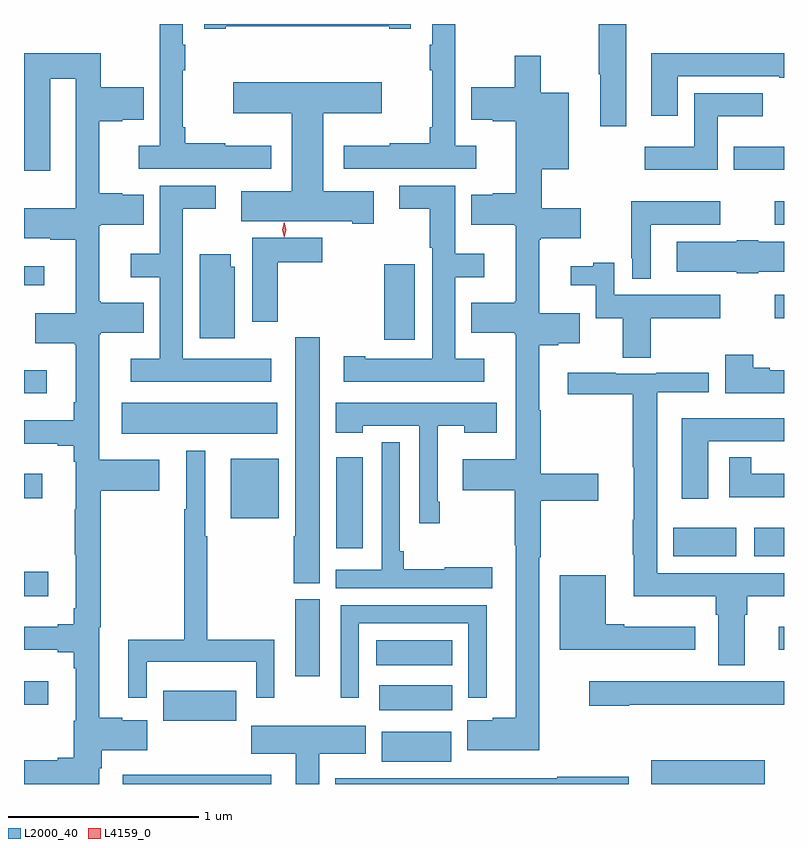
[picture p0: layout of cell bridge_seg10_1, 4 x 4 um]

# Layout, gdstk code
import gdstk
lib = gdstk.Library(unit=1e-6, precision=1e-09)
def R(c, l, rs):  # rectangles x0, y0, x1, y1
    for r in rs: c.add(gdstk.rectangle(r[:2], r[2:], *l))
def P(c, l, *ps):  # polygons
    for p in ps: c.add(gdstk.Polygon(p, *l))
L2000_40 = (2000, 40)
L4159_0 = (4159, 0)

bridge_seg10_1 = lib.new_cell('bridge_seg10_1')
R(bridge_seg10_1, L2000_40, [(1105.692,1323.919,1106.473,1323.967), (1108.473,1323.919,1109.071,1324.045), (1107.055,1324.037,1107.421,1324.195), (1105.906,1324.253,1106.288,1324.411), (1107.042,1324.307,1107.425,1324.438), (1105.172,1324.337,1105.3,1324.459), (1106.6,1324.485,1106.728,1324.891), (1107.027,1324.544,1107.425,1324.675), (1109.145,1324.625,1109.172,1324.747), (1105.172,1324.907,1105.3,1325.037), (1108.589,1325.117,1108.921,1325.269), (1109.016,1325.117,1109.172,1325.269), (1106.816,1325.16,1106.956,1325.638), (1106.261,1325.318,1106.512,1325.632), (1105.172,1325.422,1105.267,1325.551), (1105.686,1325.762,1106.506,1325.926), (1105.172,1325.975,1105.291,1326.097), (1107.068,1326.258,1107.229,1326.655), (1109.124,1326.371,1109.172,1326.493), (1105.172,1326.545,1105.279,1326.643), (1109.124,1326.863,1109.172,1326.985), (1108.907,1327.151,1109.172,1327.273)])
P(bridge_seg10_1, L2000_40, [(1106.233,1327.907),(1107.095,1327.907),(1107.095,1327.895),(1107.208,1327.895),(1107.208,1327.919),(1106.121,1327.919),(1106.121,1327.895),(1106.233,1327.895)],
  [(1108.342,1327.919),(1108.198,1327.919),(1108.198,1327.654),(1108.205,1327.654),(1108.205,1327.38),(1108.342,1327.38)],
  [(1107.553,1327.279),(1107.442,1327.279),(1107.442,1327.919),(1107.32,1327.919),(1107.32,1327.811),(1107.308,1327.811),(1107.308,1327.675),(1107.32,1327.675),(1107.32,1327.375),(1107.308,1327.375),(1107.308,1327.292),(1107.096,1327.292),(1107.096,1327.279),(1106.856,1327.279),(1106.856,1327.157),(1107.553,1327.157)],
  [(1106.473,1327.279),(1106.232,1327.279),(1106.232,1327.292),(1106.021,1327.292),(1106.021,1327.375),(1106.008,1327.375),(1106.008,1327.675),(1106.021,1327.675),(1106.021,1327.811),(1106.008,1327.811),(1106.008,1327.919),(1105.886,1327.919),(1105.886,1327.279),(1105.776,1327.279),(1105.776,1327.157),(1106.473,1327.157)],
  [(1105.567,1324.001),(1105.58,1324.001),(1105.58,1324.097),(1105.821,1324.097),(1105.821,1324.255),(1105.689,1324.255),(1105.689,1324.268),(1105.567,1324.268),(1105.567,1324.743),(1105.575,1324.743),(1105.575,1325.462),(1105.885,1325.462),(1105.885,1325.626),(1105.567,1325.626),(1105.567,1326.286),(1105.575,1326.286),(1105.575,1326.293),(1105.801,1326.293),(1105.801,1326.451),(1105.575,1326.451),(1105.575,1326.459),(1105.567,1326.459),(1105.567,1326.856),(1105.575,1326.856),(1105.575,1326.863),(1105.801,1326.863),(1105.801,1327.021),(1105.688,1327.021),(1105.688,1327.029),(1105.567,1327.029),(1105.567,1327.408),(1105.688,1327.408),(1105.688,1327.415),(1105.801,1327.415),(1105.801,1327.586),(1105.575,1327.586),(1105.575,1327.765),(1105.172,1327.765),(1105.172,1327.146),(1105.309,1327.146),(1105.309,1327.631),(1105.445,1327.631),(1105.445,1326.949),(1105.172,1326.949),(1105.172,1326.791),(1105.311,1326.791),(1105.311,1326.784),(1105.445,1326.784),(1105.445,1326.397),(1105.231,1326.397),(1105.231,1326.239),(1105.438,1326.239),(1105.438,1326.232),(1105.445,1326.232),(1105.445,1325.929),(1105.433,1325.929),(1105.433,1325.833),(1105.172,1325.833),(1105.172,1325.711),(1105.349,1325.711),(1105.349,1325.699),(1105.433,1325.699),(1105.433,1325.615),(1105.445,1325.615),(1105.445,1325.366),(1105.438,1325.366),(1105.438,1325.125),(1105.445,1325.125),(1105.445,1324.843),(1105.433,1324.843),(1105.433,1324.76),(1105.349,1324.76),(1105.349,1324.747),(1105.172,1324.747),(1105.172,1324.625),(1105.349,1324.625),(1105.349,1324.613),(1105.433,1324.613),(1105.433,1324.529),(1105.445,1324.529),(1105.445,1324.251),(1105.433,1324.251),(1105.433,1324.058),(1105.349,1324.058),(1105.349,1324.045),(1105.172,1324.045),(1105.172,1323.919),(1105.567,1323.919)],
  [(1108.612,1327.643),(1109.146,1327.643),(1109.146,1327.636),(1109.172,1327.636),(1109.172,1327.765),(1108.472,1327.765),(1108.472,1327.437),(1108.612,1327.437)],
  [(1107.883,1325.113),(1107.891,1325.113),(1107.891,1325.41),(1108.195,1325.41),(1108.195,1325.552),(1107.891,1325.552),(1107.891,1325.885),(1107.883,1325.885),(1107.883,1326.227),(1107.984,1326.227),(1107.984,1326.239),(1108.097,1326.239),(1108.097,1326.397),(1107.883,1326.397),(1107.883,1326.784),(1107.891,1326.784),(1107.891,1326.791),(1108.102,1326.791),(1108.102,1326.949),(1107.896,1326.949),(1107.896,1327.154),(1108.039,1327.154),(1108.039,1327.558),(1107.891,1327.558),(1107.891,1327.753),(1107.754,1327.753),(1107.754,1327.586),(1107.527,1327.586),(1107.527,1327.415),(1107.64,1327.415),(1107.64,1327.408),(1107.761,1327.408),(1107.761,1327.029),(1107.64,1327.029),(1107.64,1327.021),(1107.527,1327.021),(1107.527,1326.863),(1107.754,1326.863),(1107.754,1326.856),(1107.761,1326.856),(1107.761,1326.459),(1107.754,1326.459),(1107.754,1326.451),(1107.527,1326.451),(1107.527,1326.293),(1107.754,1326.293),(1107.754,1326.286),(1107.761,1326.286),(1107.761,1325.629),(1107.48,1325.629),(1107.48,1325.464),(1107.754,1325.464),(1107.754,1325.175),(1107.761,1325.175),(1107.761,1324.268),(1107.639,1324.268),(1107.639,1324.255),(1107.506,1324.255),(1107.506,1324.097),(1107.883,1324.097)],
  [(1107.013,1327.039),(1106.746,1327.039),(1106.746,1327.448),(1107.055,1327.448),(1107.055,1327.612),(1106.274,1327.612),(1106.274,1327.448),(1106.582,1327.448),(1106.582,1327.039),(1106.316,1327.039),(1106.316,1326.881),(1106.9,1326.881),(1106.9,1326.869),(1107.013,1326.869)],
  [(1108.822,1327.433),(1109.059,1327.433),(1109.059,1327.555),(1108.7,1327.555),(1108.7,1327.273),(1108.44,1327.273),(1108.44,1327.151),(1108.822,1327.151)],
  [(1107.595,1326.157),(1107.442,1326.157),(1107.442,1326.587),(1107.595,1326.587),(1107.595,1326.709),(1107.442,1326.709),(1107.442,1327.069),(1107.147,1327.069),(1107.147,1326.947),(1107.308,1326.947),(1107.308,1326.742),(1107.32,1326.742),(1107.32,1326.157),(1106.968,1326.157),(1106.968,1326.17),(1106.856,1326.17),(1106.856,1326.035),(1107.595,1326.035)],
  [(1106.473,1326.157),(1106.008,1326.157),(1106.008,1326.947),(1106.182,1326.947),(1106.182,1327.069),(1105.886,1327.069),(1105.886,1326.709),(1105.734,1326.709),(1105.734,1326.587),(1105.886,1326.587),(1105.886,1326.157),(1105.734,1326.157),(1105.734,1326.035),(1106.473,1326.035)],
  [(1108.471,1326.863),(1108.837,1326.863),(1108.837,1326.985),(1108.369,1326.985),(1108.369,1326.685),(1108.374,1326.685),(1108.374,1326.578),(1108.471,1326.578)],
  [(1106.507,1326.664),(1106.743,1326.664),(1106.743,1326.793),(1106.372,1326.793),(1106.372,1326.351),(1106.507,1326.351)],
  [(1109.036,1326.614),(1109.172,1326.614),(1109.172,1326.772),(1109.036,1326.772),(1109.036,1326.78),(1108.924,1326.78),(1108.924,1326.772),(1108.608,1326.772),(1108.608,1326.614),(1108.924,1326.614),(1108.924,1326.607),(1109.036,1326.607)],
  [(1106.281,1326.642),(1106.26,1326.642),(1106.26,1326.706),(1106.096,1326.706),(1106.096,1326.266),(1106.281,1326.266)],
  [(1108.47,1326.371),(1108.837,1326.371),(1108.837,1326.493),(1108.278,1326.493),(1108.278,1326.662),(1108.169,1326.662),(1108.169,1326.643),(1108.05,1326.643),(1108.05,1326.545),(1108.182,1326.545),(1108.182,1326.371),(1108.322,1326.371),(1108.322,1326.163),(1108.47,1326.163)],
  [(1106.728,1326.271),(1106.6,1326.271),(1106.6,1325.222),(1106.593,1325.222),(1106.593,1324.976),(1106.728,1324.976)],
  [(1109.172,1326.097),(1109.098,1326.097),(1109.098,1326.11),(1109.01,1326.11),(1109.01,1326.178),(1108.862,1326.178),(1108.862,1325.975),(1109.172,1325.975)],
  [(1108.966,1324.811),(1108.979,1324.811),(1108.979,1324.907),(1109.172,1324.907),(1109.172,1325.029),(1108.504,1325.029),(1108.504,1325.981),(1108.777,1325.981),(1108.777,1326.083),(1108.5,1326.083),(1108.5,1326.078),(1108.286,1326.078),(1108.286,1326.083),(1108.035,1326.083),(1108.035,1325.97),(1108.375,1325.97),(1108.375,1325.585),(1108.382,1325.585),(1108.382,1325.311),(1108.375,1325.311),(1108.375,1325.125),(1108.382,1325.125),(1108.382,1324.907),(1108.814,1324.907),(1108.814,1324.811),(1108.826,1324.811),(1108.826,1324.544),(1108.966,1324.544)],
  [(1107.361,1325.404),(1107.349,1325.404),(1107.349,1325.804),(1107.488,1325.804),(1107.488,1325.768),(1107.661,1325.768),(1107.661,1325.926),(1106.813,1325.926),(1106.813,1325.768),(1106.956,1325.768),(1106.956,1325.804),(1107.252,1325.804),(1107.252,1325.292),(1107.361,1325.292)],
  [(1108.774,1325.723),(1109.172,1325.723),(1109.172,1325.845),(1108.634,1325.845),(1108.634,1325.421),(1108.774,1325.421)],
  [(1107.637,1325.059),(1107.386,1325.059),(1107.386,1325.049),(1107.17,1325.049),(1107.17,1325.143),(1107.15,1325.143),(1107.15,1325.719),(1107.054,1325.719),(1107.054,1325.046),(1106.813,1325.046),(1106.813,1324.95),(1107.637,1324.95)],
  [(1105.818,1324.562),(1106.394,1324.562),(1106.394,1324.374),(1106.49,1324.374),(1106.49,1324.679),(1106.137,1324.679),(1106.137,1325.222),(1106.125,1325.222),(1106.125,1325.674),(1106.027,1325.674),(1106.027,1325.366),(1106.016,1325.366),(1106.016,1324.679),(1105.721,1324.679),(1105.721,1324.374),(1105.818,1324.374)],
  [(1109.172,1325.551),(1109,1325.551),(1109,1325.638),(1108.884,1325.638),(1108.884,1325.429),(1109.172,1325.429)],
  [(1108.705,1324.747),(1108.33,1324.747),(1108.33,1324.76),(1108.234,1324.76),(1108.234,1325.017),(1107.992,1325.017),(1107.992,1324.625),(1108.705,1324.625)],
  [(1106.934,1324.764),(1107.51,1324.764),(1107.51,1324.374),(1107.607,1324.374),(1107.607,1324.86),(1106.838,1324.86),(1106.838,1324.374),(1106.934,1324.374)],
  [(1108.358,1324.337),(1109.172,1324.337),(1109.172,1324.459),(1108.146,1324.459),(1108.146,1324.33),(1108.358,1324.33)],
  [(1106.725,1324.079),(1106.97,1324.079),(1106.97,1324.225),(1106.368,1324.225),(1106.368,1324.079),(1106.603,1324.079),(1106.603,1323.919),(1106.725,1323.919)],
  [(1108.354,1323.957),(1107.979,1323.957),(1107.979,1323.949),(1106.81,1323.949),(1106.81,1323.919),(1108.354,1323.919)])
P(bridge_seg10_1, L4159_0, [(1106.541,1326.796),(1106.541,1326.796),(1106.531,1326.836),(1106.541,1326.876),(1106.541,1326.876),(1106.541,1326.876),(1106.551,1326.836),(1106.541,1326.796)])

lib.write_gds('bridge_seg10_1.gds')
